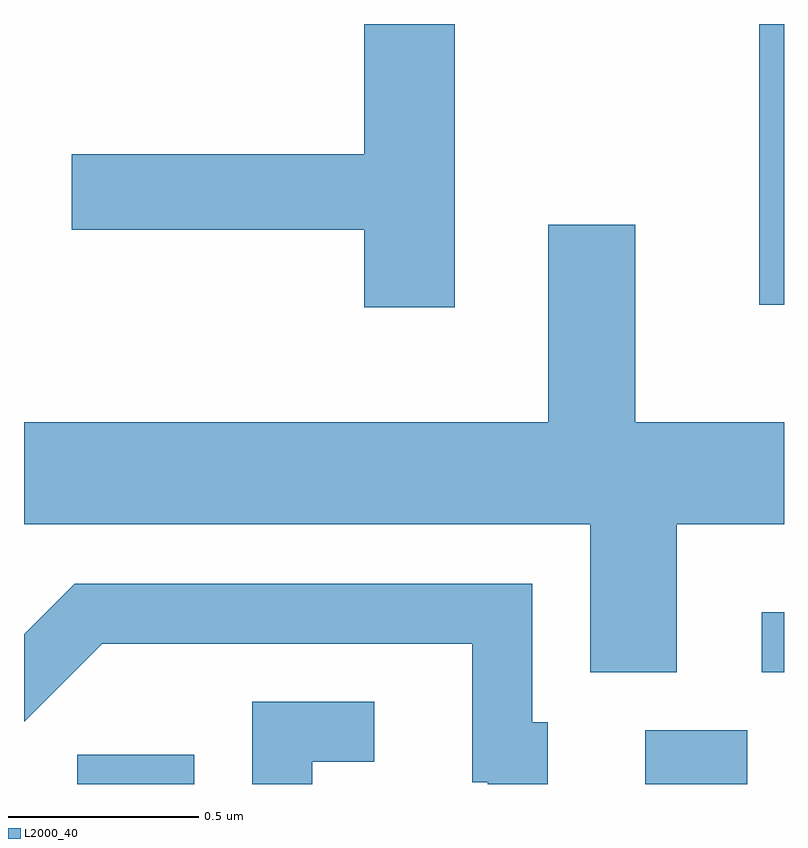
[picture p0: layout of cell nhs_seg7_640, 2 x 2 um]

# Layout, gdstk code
import gdstk
lib = gdstk.Library(unit=1e-6, precision=1e-09)
def R(c, l, rs):  # rectangles x0, y0, x1, y1
    for r in rs: c.add(gdstk.rectangle(r[:2], r[2:], *l))
def P(c, l, *ps):  # polygons
    for p in ps: c.add(gdstk.Polygon(p, *l))
L2000_40 = (2000, 40)

nhs_seg7_640 = lib.new_cell('nhs_seg7_640')
R(nhs_seg7_640, L2000_40, [(189.751,1760.252,190.059,1760.329), (191.246,1760.252,191.514,1760.394), (191.553,1760.546,191.611,1760.704), (191.546,1761.513,191.611,1762.252)])
P(nhs_seg7_640, L2000_40, [(190.744,1762.252),(190.506,1762.252),(190.506,1761.909),(189.736,1761.909),(189.736,1761.711),(190.506,1761.711),(190.506,1761.506),(190.744,1761.506)],
  [(191.329,1760.936),(191.611,1760.936),(191.611,1761.204),(191.219,1761.204),(191.219,1761.724),(190.991,1761.724),(190.991,1761.204),(189.611,1761.204),(189.611,1760.936),(191.101,1760.936),(191.101,1760.546),(191.329,1760.546)],
  [(190.989,1760.414),(190.949,1760.414),(190.949,1760.779),(189.744,1760.779),(189.611,1760.646),(189.611,1760.416),(189.817,1760.621),(190.791,1760.621),(190.791,1760.256),(190.831,1760.256),(190.831,1760.252),(190.989,1760.252)],
  [(190.369,1760.311),(190.533,1760.311),(190.533,1760.469),(190.211,1760.469),(190.211,1760.252),(190.369,1760.252)])

lib.write_gds('nhs_seg7_640.gds')
